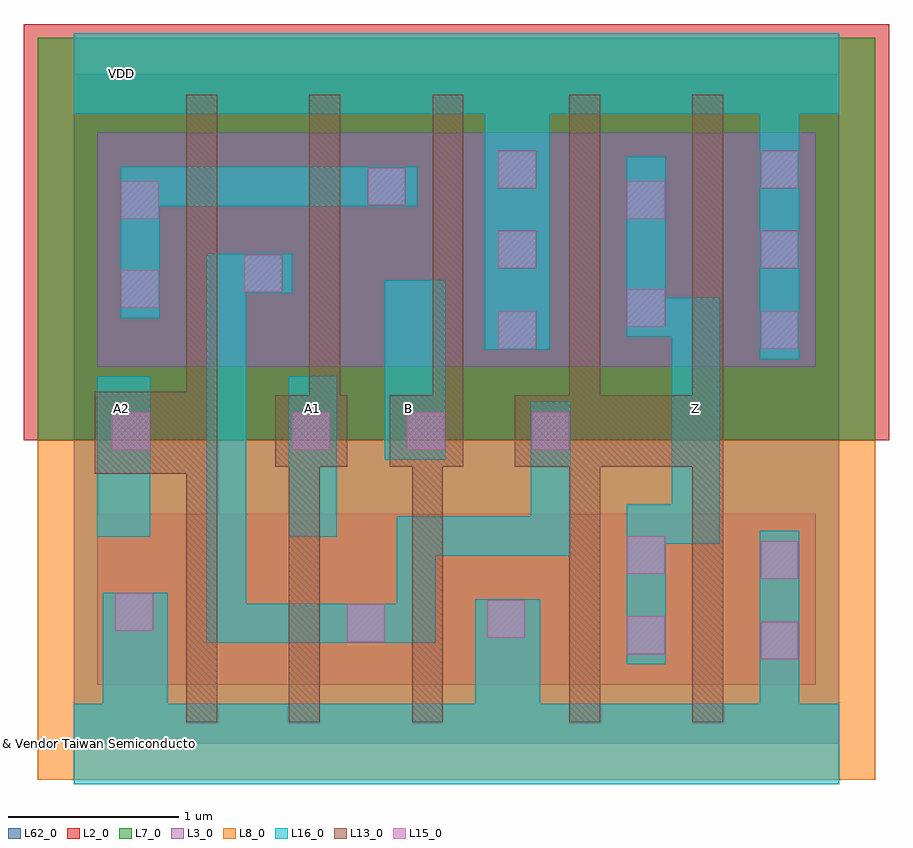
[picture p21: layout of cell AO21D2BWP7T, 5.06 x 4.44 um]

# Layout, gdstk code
import gdstk
lib = gdstk.Library(unit=1e-6, precision=1e-09)
def R(c, l, rs):  # rectangles x0, y0, x1, y1
    for r in rs: c.add(gdstk.rectangle(r[:2], r[2:], *l))
def A(c, l, x, y, w, h, nx, ny, dx, dy):  # array of equal rectangles
    R(c, l, [(x+i*dx, y+j*dy, x+i*dx+w, y+j*dy+h) for i in range(nx) for j in range(ny)])
def P(c, l, *ps):  # polygons
    for p in ps: c.add(gdstk.Polygon(p, *l))
L2_0 = (2, 0)
L3_0 = (3, 0)
L7_0 = (7, 0)
L8_0 = (8, 0)
L13_0 = (13, 0)
L15_0 = (15, 0)
L16_0 = (16, 0)
L62_0 = (62, 0)

ao21d2bwp7t = lib.new_cell('AO21D2BWP7T')
R(ao21d2bwp7t, L2_0, [(-0.29,1.775,4.77,4.21)])
R(ao21d2bwp7t, L3_0, [(0.14,0.345,4.34,1.345), (0.14,2.205,4.34,3.575)])
R(ao21d2bwp7t, L7_0, [(-0.21,1.775,4.69,4.13)])
R(ao21d2bwp7t, L8_0, [(-0.21,-0.21,4.69,1.775)])
P(ao21d2bwp7t, L13_0, [(1.98,0.125),(1.98,1.62),(1.85,1.62),(1.85,2.04),(2.1,2.04),(2.1,3.795),(2.28,3.795),(2.28,1.62),(2.16,1.62),(2.16,0.125)],
  [(1.26,0.125),(1.26,1.62),(1.18,1.62),(1.18,2.04),(1.38,2.04),(1.38,3.795),(1.56,3.795),(1.56,2.04),(1.6,2.04),(1.6,1.62),(1.44,1.62),(1.44,0.125)],
  [(0.66,0.125),(0.66,1.58),(0.125,1.58),(0.125,2.06),(0.66,2.06),(0.66,3.795),(0.84,3.795),(0.84,0.125)],
  [(2.9,0.125),(2.9,1.62),(2.58,1.62),(2.58,2.04),(2.9,2.04),(2.9,3.795),(3.08,3.795),(3.08,2.04),(3.62,2.04),(3.62,3.795),(3.8,3.795),(3.8,0.125),(3.62,0.125),(3.62,1.62),(3.08,1.62),(3.08,0.125)])
A(ao21d2bwp7t, L15_0, 2.485, 2.31, 0.22, 0.22, 1, 3, 0, 0.47)
A(ao21d2bwp7t, L15_0, 4.02, 2.31, 0.22, 0.22, 1, 3, 0, 0.47)
R(ao21d2bwp7t, L15_0, [(4.02,0.495,4.24,0.715), (3.24,0.525,3.46,0.745), (1.6,0.595,1.82,0.815), (2.42,0.62,2.64,0.84), (0.245,0.66,0.465,0.88), (4.02,0.965,4.24,1.185), (3.24,0.995,3.46,1.215), (0.225,1.72,0.445,1.94), (1.28,1.72,1.5,1.94), (1.95,1.72,2.17,1.94), (2.68,1.72,2.9,1.94), (3.24,2.44,3.46,2.66), (0.28,2.55,0.5,2.77), (1,2.64,1.22,2.86), (0.28,3.07,0.5,3.29), (3.24,3.07,3.46,3.29), (1.72,3.15,1.94,3.37)])
R(ao21d2bwp7t, L16_0, [(0.14,1.21,0.45,2.15), (1.26,1.21,1.54,2.15), (1.82,1.66,2.175,2.71)])
P(ao21d2bwp7t, L16_0, [(0,-0.235),(0,0.235),(0.17,0.235),(0.17,0.885),(0.55,0.885),(0.55,0.235),(2.35,0.235),(2.35,0.845),(2.73,0.845),(2.73,0.235),(4.015,0.235),(4.015,1.245),(4.245,1.245),(4.245,0.235),(4.48,0.235),(4.48,-0.235)],
  [(4.015,2.25),(4.015,3.685),(2.785,3.685),(2.785,2.305),(2.405,2.305),(2.405,3.685),(0,3.685),(0,4.155),(4.48,4.155),(4.48,3.685),(4.245,3.685),(4.245,2.25)],
  [(3.235,0.465),(3.235,1.4),(3.5,1.4),(3.5,2.38),(3.235,2.38),(3.235,3.435),(3.465,3.435),(3.465,2.61),(3.78,2.61),(3.78,1.17),(3.465,1.17),(3.465,0.465)],
  [(0.78,0.59),(0.78,2.865),(1.28,2.865),(1.28,2.635),(1.01,2.635),(1.01,0.82),(1.89,0.82),(1.89,1.33),(2.675,1.33),(2.675,2),(2.905,2),(2.905,1.1),(2.12,1.1),(2.12,0.59)],
  [(0.275,2.49),(0.275,3.375),(2.01,3.375),(2.01,3.145),(0.505,3.145),(0.505,2.49)])
R(ao21d2bwp7t, L62_0, [(0,0,4.48,3.92)])
ao21d2bwp7t.add(gdstk.Label('& Vendor Taiwan Semiconductor Manufacturing Corp.', (0,0), layer=63, texttype=63))
ao21d2bwp7t.add(gdstk.Label('& Product tcb018gbwp7t', (0,0), layer=63, texttype=63))
ao21d2bwp7t.add(gdstk.Label('& Version 270a', (0,0), layer=63, texttype=63))
ao21d2bwp7t.add(gdstk.Label('& Metric 17.562', (0,0), layer=63, texttype=63))
ao21d2bwp7t.add(gdstk.Label('& Distributor TSMC', (0,0), layer=63, texttype=63))
ao21d2bwp7t.add(gdstk.Label('& SerialNumber 000000', (0,0), layer=63, texttype=63))
ao21d2bwp7t.add(gdstk.Label('& _Instance_tag AO21D2BWP7T', (0,0), layer=63, texttype=63))
ao21d2bwp7t.add(gdstk.Label('& Vendor Taiwan Semiconductor Manufacturing Corp.', (0,0), layer=11, texttype=0))
ao21d2bwp7t.add(gdstk.Label('& Product tcb018gbwp7t', (0,0), layer=11, texttype=0))
ao21d2bwp7t.add(gdstk.Label('& Version 270a', (0,0), layer=11, texttype=0))
ao21d2bwp7t.add(gdstk.Label('& Metric 17.562', (0,0), layer=11, texttype=0))
ao21d2bwp7t.add(gdstk.Label('& Distributor TSMC', (0,0), layer=11, texttype=0))
ao21d2bwp7t.add(gdstk.Label('& SerialNumber 000000', (0,0), layer=11, texttype=0))
ao21d2bwp7t.add(gdstk.Label('& _Instance_tag AO21D2BWP7T', (0,0), layer=11, texttype=0))
ao21d2bwp7t.add(gdstk.Label('AO21D2BWP7T', (0,0), layer=59, texttype=0))
ao21d2bwp7t.add(gdstk.Label('Z', (3.64,1.96), layer=40, texttype=0))
ao21d2bwp7t.add(gdstk.Label('B', (1.96,1.96), layer=40, texttype=0))
ao21d2bwp7t.add(gdstk.Label('A1', (1.4,1.96), layer=40, texttype=0))
ao21d2bwp7t.add(gdstk.Label('VDD', (0.28,3.92), layer=40, texttype=0))
ao21d2bwp7t.add(gdstk.Label('A2', (0.28,1.96), layer=40, texttype=0))
ao21d2bwp7t.add(gdstk.Label('VSS', (0.28,0), layer=40, texttype=0))

lib.write_gds('AO21D2BWP7T.gds')
